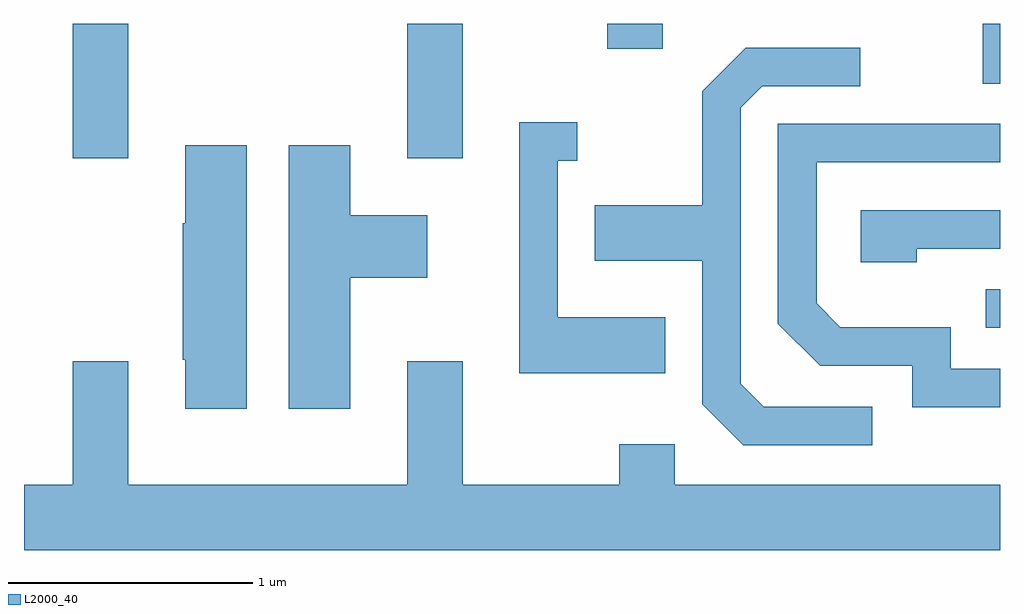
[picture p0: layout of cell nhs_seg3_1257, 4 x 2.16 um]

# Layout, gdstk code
import gdstk
lib = gdstk.Library(unit=1e-6, precision=1e-09)
def R(c, l, rs):  # rectangles x0, y0, x1, y1
    for r in rs: c.add(gdstk.rectangle(r[:2], r[2:], *l))
def P(c, l, *ps):  # polygons
    for p in ps: c.add(gdstk.Polygon(p, *l))
L2000_40 = (2000, 40)

nhs_seg3_1257 = lib.new_cell('nhs_seg3_1257')
R(nhs_seg3_1257, L2000_40, [(225.553,1184.646,225.611,1184.804), (221.811,1185.341,222.039,1185.892), (223.181,1185.341,223.409,1185.892), (225.541,1185.646,225.611,1185.892), (224.001,1185.791,224.229,1185.892)])
P(nhs_seg3_1257, L2000_40, [(225.088,1184.324),(224.642,1184.324),(224.549,1184.417),(224.549,1185.549),(224.637,1185.636),(225.038,1185.636),(225.038,1185.794),(224.569,1185.794),(224.391,1185.617),(224.391,1185.149),(223.951,1185.149),(223.951,1184.921),(224.391,1184.921),(224.391,1184.334),(224.559,1184.166),(225.088,1184.166)],
  [(224.239,1184.689),(223.799,1184.689),(223.799,1185.331),(223.878,1185.331),(223.878,1185.489),(223.641,1185.489),(223.641,1184.461),(224.239,1184.461)],
  [(225.611,1184.479),(225.409,1184.479),(225.409,1184.649),(224.957,1184.649),(224.859,1184.747),(224.859,1185.326),(225.611,1185.326),(225.611,1185.484),(224.701,1185.484),(224.701,1184.664),(224.874,1184.491),(225.251,1184.491),(225.251,1184.321),(225.611,1184.321)],
  [(222.949,1184.851),(223.264,1184.851),(223.264,1185.109),(222.949,1185.109),(222.949,1185.394),(222.696,1185.394),(222.696,1184.316),(222.949,1184.316)],
  [(222.524,1185.394),(222.271,1185.394),(222.271,1185.075),(222.261,1185.075),(222.261,1184.515),(222.271,1184.515),(222.271,1184.316),(222.524,1184.316)],
  [(225.269,1184.971),(225.611,1184.971),(225.611,1185.129),(225.041,1185.129),(225.041,1184.916),(225.269,1184.916)],
  [(225.611,1184.004),(224.279,1184.004),(224.279,1184.169),(224.051,1184.169),(224.051,1184.004),(223.409,1184.004),(223.409,1184.509),(223.181,1184.509),(223.181,1184.004),(222.039,1184.004),(222.039,1184.509),(221.811,1184.509),(221.811,1184.004),(221.611,1184.004),(221.611,1183.736),(225.611,1183.736)])

lib.write_gds('nhs_seg3_1257.gds')
